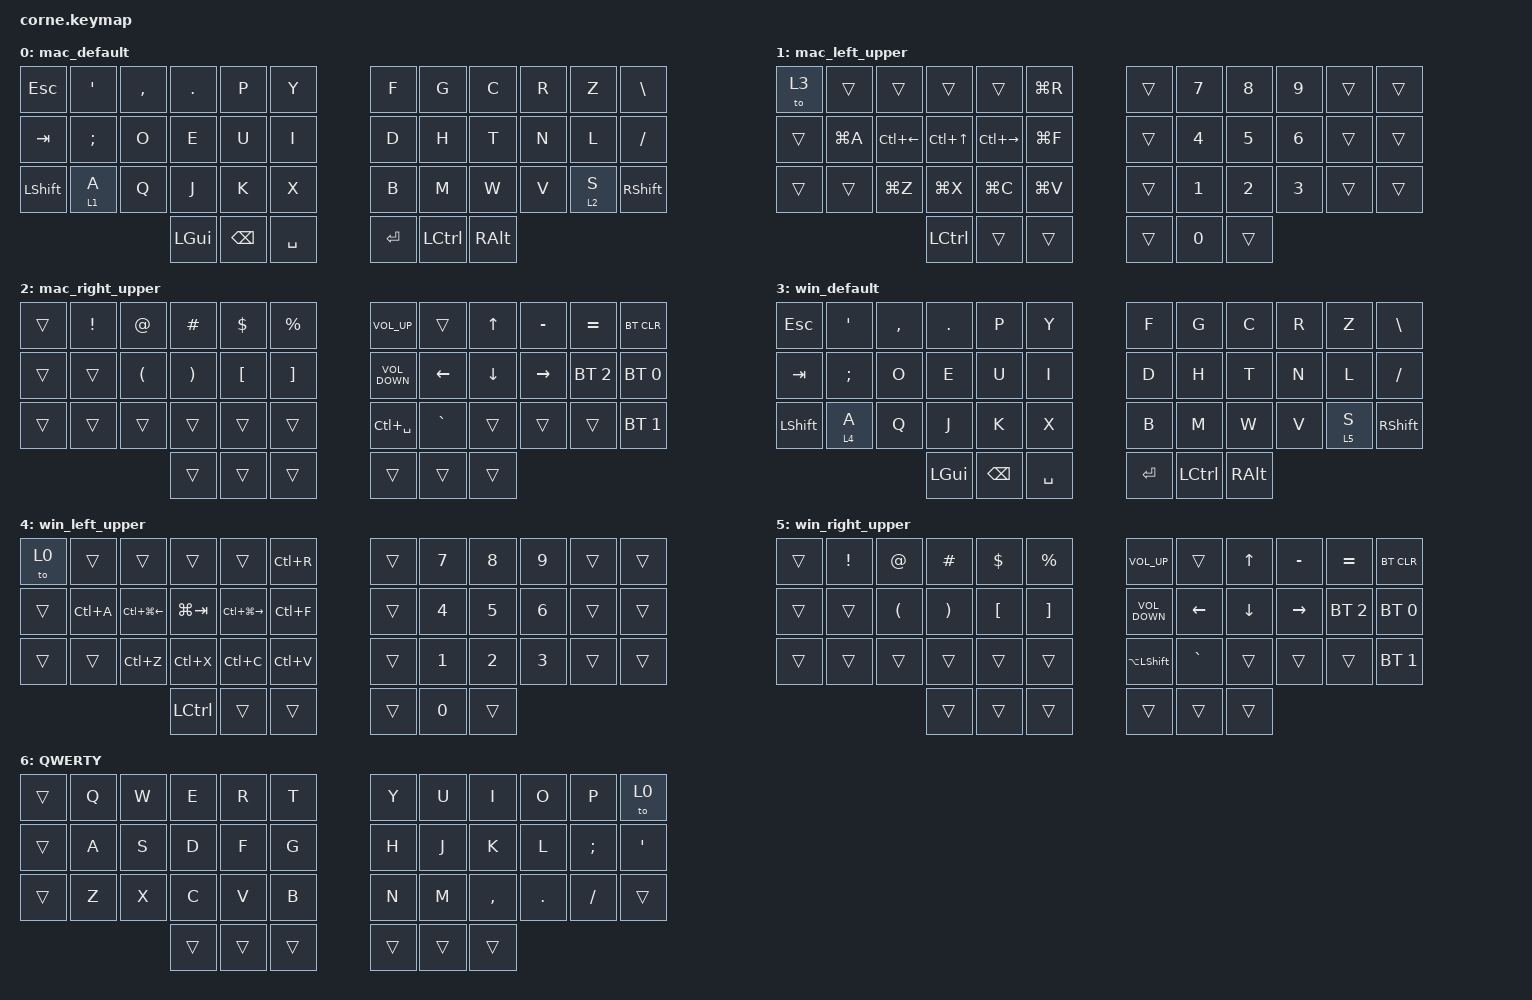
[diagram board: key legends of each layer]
/*
 * Copyright (c) 2020 The ZMK Contributors
 *
 * SPDX-License-Identifier: MIT
 */

#include <behaviors.dtsi>
#include <dt-bindings/zmk/bt.h>
#include <dt-bindings/zmk/keys.h>

/ {
    keymap {
        compatible = "zmk,keymap";

        mac_default {
            bindings = <
&kp ESC         &kp SQT        &kp COMMA  &kp DOT   &kp P          &kp Y        &kp F    &kp G      &kp C     &kp R  &kp Z    &kp BACKSLASH
&kp TAB         &kp SEMICOLON  &kp O      &kp E     &kp U          &kp I        &kp D    &kp H      &kp T     &kp N  &kp L    &kp SLASH
&kp LEFT_SHIFT  &lt 1 A        &kp Q      &kp J     &kp K          &kp X        &kp B    &kp M      &kp W     &kp V  &lt 2 S  &kp RSHFT
                                          &kp LGUI  &kp BACKSPACE  &kp SPACE    &kp RET  &kp LCTRL  &kp RALT
            >;
        };

        mac_left_upper {
            // -----------------------------------------------------------------------------------------
            // |  TAB |  1  |  2  |  3  |  4  |  5  |   |  6  |  7  |  8  |  9  |  0  | BKSP |
            // | BTCLR| BT1 | BT2 | BT3 | BT4 | BT5 |   | LFT | DWN |  UP | RGT |     |      |
            // | SHFT |     |     |     |     |     |   |     |     |     |     |     |      |
            //                    | GUI |     | SPC |   | ENT |     | ALT |

            bindings = <
&to 3   &trans     &trans              &trans            &trans               &kp LG(R)    &trans  &kp N7  &kp N8  &kp N9  &trans  &trans
&trans  &kp LG(A)  &kp LC(LEFT_ARROW)  &kp LC(UP_ARROW)  &kp LC(RIGHT_ARROW)  &kp LG(F)    &trans  &kp N4  &kp N5  &kp N6  &trans  &trans
&trans  &trans     &kp LG(Z)           &kp LG(X)         &kp LG(C)            &kp LG(V)    &trans  &kp N1  &kp N2  &kp N3  &trans  &trans
                                       &kp LEFT_CONTROL  &trans               &trans       &trans  &kp N0  &trans
            >;
        };

        mac_right_upper {
            bindings = <
&trans  &kp EXCLAMATION  &kp AT_SIGN           &kp HASH               &kp DOLLAR        &kp PERCENT          &kp C_VOLUME_UP    &trans     &kp UP    &kp MINUS  &kp EQUAL     &bt BT_CLR
&trans  &trans           &kp LEFT_PARENTHESIS  &kp RIGHT_PARENTHESIS  &kp LEFT_BRACKET  &kp RIGHT_BRACKET    &kp C_VOLUME_DOWN  &kp LEFT   &kp DOWN  &kp RIGHT  &bt BT_SEL 2  &bt BT_SEL 0
&trans  &trans           &trans                &trans                 &trans            &trans               &kp LC(SPACE)      &kp GRAVE  &trans    &trans     &trans        &bt BT_SEL 1
                                               &trans                 &trans            &trans               &trans             &trans     &trans
            >;
        };

        win_default {
            bindings = <
&kp ESC    &kp SQT   &kp COMMA  &kp DOT   &kp P     &kp Y        &kp F    &kp G      &kp C     &kp R  &kp Z    &kp BSLH
&kp TAB    &kp SEMI  &kp O      &kp E     &kp U     &kp I        &kp D    &kp H      &kp T     &kp N  &kp L    &kp FSLH
&kp LSHFT  &lt 4 A   &kp Q      &kp J     &kp K     &kp X        &kp B    &kp M      &kp W     &kp V  &lt 5 S  &kp RSHFT
                                &kp LGUI  &kp BSPC  &kp SPACE    &kp RET  &kp LCTRL  &kp RALT
            >;
        };

        win_left_upper {
            bindings = <
&to 0   &trans     &trans                  &trans            &trans                   &kp LC(R)    &trans  &kp N7  &kp N8  &kp N9  &trans  &trans
&trans  &kp LC(A)  &kp LC(LG(LEFT_ARROW))  &kp LG(TAB)       &kp LC(LG(RIGHT_ARROW))  &kp LC(F)    &trans  &kp N4  &kp N5  &kp N6  &trans  &trans
&trans  &trans     &kp LC(Z)               &kp LC(X)         &kp LC(C)                &kp LC(V)    &trans  &kp N1  &kp N2  &kp N3  &trans  &trans
                                           &kp LEFT_CONTROL  &trans                   &trans       &trans  &kp N0  &trans
            >;
        };

        win_right_upper {
            bindings = <
&trans  &kp EXCLAMATION  &kp AT_SIGN           &kp HASH               &kp DOLLAR        &kp PERCENT          &kp C_VOLUME_UP     &trans     &kp UP    &kp MINUS  &kp EQUAL     &bt BT_CLR
&trans  &trans           &kp LEFT_PARENTHESIS  &kp RIGHT_PARENTHESIS  &kp LEFT_BRACKET  &kp RIGHT_BRACKET    &kp C_VOLUME_DOWN   &kp LEFT   &kp DOWN  &kp RIGHT  &bt BT_SEL 2  &bt BT_SEL 0
&trans  &trans           &trans                &trans                 &trans            &trans               &kp LA(LEFT_SHIFT)  &kp GRAVE  &trans    &trans     &trans        &bt BT_SEL 1
                                               &trans                 &trans            &trans               &trans              &trans     &trans
            >;
        };

        QWERTY {
            // -----------------------------------------------------------------------------------------
            // |  TAB |  Q  |  W  |  E  |  R  |  T  |   |  Y  |  U   |  I  |  O  |  P  | BKSP |
            // | CTRL |  A  |  S  |  D  |  F  |  G  |   |  H  |  J   |  K  |  L  |  ;  |  '   |
            // | SHFT |  Z  |  X  |  C  |  V  |  B  |   |  N  |  M   |  ,  |  .  |  /  | ESC  |
            //                    | GUI | LWR | SPC |   | ENT | RSE  | ALT |

            bindings = <
&trans  &kp Q  &kp W  &kp E   &kp R   &kp T     &kp Y   &kp U   &kp I      &kp O    &kp P     &to 0
&trans  &kp A  &kp S  &kp D   &kp F   &kp G     &kp H   &kp J   &kp K      &kp L    &kp SEMI  &kp SQT
&trans  &kp Z  &kp X  &kp C   &kp V   &kp B     &kp N   &kp M   &kp COMMA  &kp DOT  &kp FSLH  &trans
                      &trans  &trans  &trans    &trans  &trans  &trans
            >;
        };
    };
};
